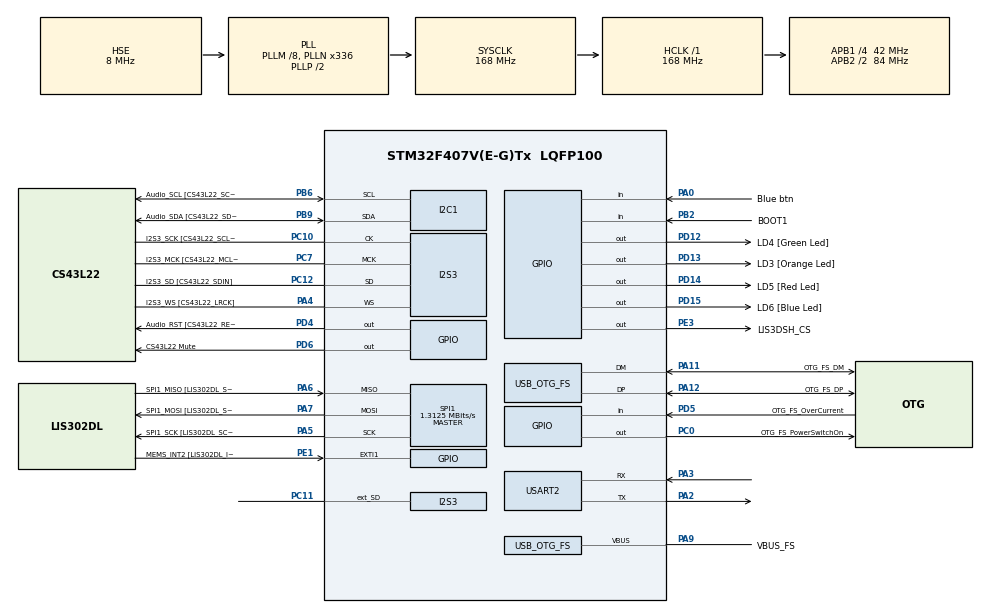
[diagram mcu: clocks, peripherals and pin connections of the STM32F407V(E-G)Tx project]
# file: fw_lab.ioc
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Dma.Request0=SPI3_TX
Dma.SPI3_TX.0.Direction=DMA_MEMORY_TO_PERIPH
Dma.SPI3_TX.0.FIFOMode=DMA_FIFOMODE_DISABLE
Dma.SPI3_TX.0.Instance=DMA1_Stream5
Dma.SPI3_TX.0.MemDataAlignment=DMA_MDATAALIGN_HALFWORD
Dma.SPI3_TX.0.MemInc=DMA_MINC_ENABLE
Dma.SPI3_TX.0.Mode=DMA_CIRCULAR
Dma.SPI3_TX.0.PeriphDataAlignment=DMA_PDATAALIGN_HALFWORD
Dma.SPI3_TX.0.PeriphInc=DMA_PINC_DISABLE
Dma.SPI3_TX.0.Priority=DMA_PRIORITY_MEDIUM
FREERTOS.Queues01=ledQueue,4,uint16_t,0,Dynamic,NULL,NULL
FREERTOS.Tasks01=defaultTask,24,128,StartDefaultTask,Default,NULL,Dynamic,NULL,NULL;buttonTask,24,128,StartButtonTask,Default,NULL,Dynamic,NULL,NULL;ledTask,24,256,StartLedTask,Default,NULL,Dynamic,NULL,NULL;uartTask,24,256,StartUartTask,Default,NULL,Dynamic,NULL,NULL
I2S3.AudioFreq=I2S_AUDIOFREQ_48K
I2S3.ErrorAudioFreq=-2.34 %
I2S3.FullDuplexMode=I2S_FULLDUPLEXMODE_ENABLE
I2S3.Instance=SPI$Index
I2S3.RealAudioFreq=46.875 KHz
I2S3.VirtualMode=I2S_MODE_MASTER
Mcu.Family=STM32F4
Mcu.Name=STM32F407V(E-G)Tx
Mcu.Package=LQFP100
NVIC.DMA1_Stream5_IRQn=true\:5\:0\:false\:false\:true\:true\:false\:true\:true
NVIC.OTG_FS_IRQn=true\:5\:0\:false\:false\:true\:true\:true\:true\:true
NVIC.PriorityGroup=NVIC_PRIORITYGROUP_4
NVIC.SPI3_IRQn=true\:5\:0\:false\:false\:true\:true\:true\:true\:true
NVIC.USART2_IRQn=true\:5\:0\:false\:false\:true\:true\:true\:true\:true
PA0-WKUP.GPIO_Label=Blue btn
PA0-WKUP.GPIO_PuPd=GPIO_PULLDOWN
PA0-WKUP.Signal=GPIO_Input
PA10.GPIO_Label=OTG_FS_ID
PA10.GPIO_Mode=GPIO_MODE_AF_PP
PA10.GPIO_PuPd=GPIO_NOPULL
PA10.GPIO_Speed=GPIO_SPEED_FREQ_LOW
PA10.Signal=USB_OTG_FS_ID
PA11.GPIO_Label=OTG_FS_DM
PA11.GPIO_Mode=GPIO_MODE_AF_PP
PA11.GPIO_PuPd=GPIO_NOPULL
PA11.GPIO_Speed=GPIO_SPEED_FREQ_LOW
PA11.Mode=Host_Only
PA11.Signal=USB_OTG_FS_DM
PA12.GPIO_Label=OTG_FS_DP
PA12.GPIO_Mode=GPIO_MODE_AF_PP
PA12.GPIO_PuPd=GPIO_NOPULL
PA12.GPIO_Speed=GPIO_SPEED_FREQ_LOW
PA12.Mode=Host_Only
PA12.Signal=USB_OTG_FS_DP
PA13.GPIO_Label=SWDIO
PA13.Mode=Serial_Wire
PA13.Signal=SYS_JTMS-SWDIO
PA14.GPIO_Label=SWCLK
PA14.Mode=Serial_Wire
PA14.Signal=SYS_JTCK-SWCLK
PA2.Mode=Asynchronous
PA2.Signal=USART2_TX
PA3.Mode=Asynchronous
PA3.Signal=USART2_RX
PA4.GPIO_Label=I2S3_WS [CS43L22_LRCK]
PA4.GPIO_Mode=GPIO_MODE_AF_PP
PA4.GPIO_PuPd=GPIO_NOPULL
PA4.GPIO_Speed=GPIO_SPEED_FREQ_LOW
PA4.Mode=Full_Duplex_Master
PA4.Signal=I2S3_WS
PA5.GPIO_Label=SPI1_SCK [LIS302DL_SCL/SPC]
PA5.GPIO_Mode=GPIO_MODE_AF_PP
PA5.GPIO_PuPd=GPIO_NOPULL
PA5.GPIO_Speed=GPIO_SPEED_FREQ_LOW
PA5.Mode=Full_Duplex_Master
PA5.Signal=SPI1_SCK
PA6.GPIO_Label=SPI1_MISO [LIS302DL_SDO]
PA6.GPIO_Mode=GPIO_MODE_AF_PP
PA6.GPIO_PuPd=GPIO_NOPULL
PA6.GPIO_Speed=GPIO_SPEED_FREQ_LOW
PA6.Mode=Full_Duplex_Master
PA6.Signal=SPI1_MISO
PA7.GPIO_Label=SPI1_MOSI [LIS302DL_SDA/SDI/SDO]
PA7.GPIO_Mode=GPIO_MODE_AF_PP
PA7.GPIO_PuPd=GPIO_NOPULL
PA7.GPIO_Speed=GPIO_SPEED_FREQ_LOW
PA7.Mode=Full_Duplex_Master
PA7.Signal=SPI1_MOSI
PA9.GPIO_Label=VBUS_FS
PA9.GPIO_Mode=GPIO_MODE_INPUT
PA9.GPIO_PuPd=GPIO_NOPULL
PA9.Mode=Activate_VBUS
PA9.Signal=USB_OTG_FS_VBUS
PB10.GPIO_Label=CLK_IN [MP45DT02_CLK]
PB10.GPIO_Mode=GPIO_MODE_AF_PP
PB10.GPIO_PuPd=GPIO_NOPULL
PB10.GPIO_Speed=GPIO_SPEED_FREQ_LOW
PB10.Signal=I2S2_CK
PB2.GPIO_Label=BOOT1
PB2.GPIO_Mode=GPIO_MODE_INPUT
PB2.GPIO_PuPd=GPIO_NOPULL
PB2.Signal=GPIO_Input
PB3.GPIO_Label=SWO
PB3.Signal=SYS_JTDO-SWO
PB6.GPIO_Label=Audio_SCL [CS43L22_SCL]
PB6.GPIO_Mode=GPIO_MODE_AF_OD
PB6.GPIO_Pu=GPIO_PULLUP
PB6.GPIO_PuPd=GPIO_NOPULL
PB6.GPIO_Speed=GPIO_SPEED_FREQ_LOW
PB6.Mode=I2C
PB6.Signal=I2C1_SCL
PB9.GPIO_Label=Audio_SDA [CS43L22_SDA]
PB9.GPIO_Mode=GPIO_MODE_AF_OD
PB9.GPIO_Pu=GPIO_PULLUP
PB9.GPIO_PuPd=GPIO_NOPULL
PB9.GPIO_Speed=GPIO_SPEED_FREQ_LOW
PB9.Mode=I2C
PB9.Signal=I2C1_SDA
PC0.GPIO_Label=OTG_FS_PowerSwitchOn
PC0.GPIO_PuPd=GPIO_NOPULL
PC0.GPIO_Speed=GPIO_SPEED_FREQ_LOW
PC0.PinState=GPIO_PIN_SET
PC0.Signal=GPIO_Output
PC10.GPIO_Label=I2S3_SCK [CS43L22_SCLK]
PC10.GPIO_Mode=GPIO_MODE_AF_PP
PC10.GPIO_PuPd=GPIO_NOPULL
PC10.GPIO_Speed=GPIO_SPEED_FREQ_LOW
PC10.Mode=Full_Duplex_Master
PC10.Signal=I2S3_CK
PC11.Mode=Full_Duplex_Master
PC11.Signal=I2S3_ext_SD
PC12.GPIO_Label=I2S3_SD [CS43L22_SDIN]
PC12.GPIO_Mode=GPIO_MODE_AF_PP
PC12.GPIO_PuPd=GPIO_NOPULL
PC12.GPIO_Speed=GPIO_SPEED_FREQ_LOW
PC12.Mode=Full_Duplex_Master
PC12.Signal=I2S3_SD
PC14-OSC32_IN.GPIO_Label=PC14-OSC32_IN
PC14-OSC32_IN.Mode=LSE-External-Oscillator
PC14-OSC32_IN.Signal=RCC_OSC32_IN
PC15-OSC32_OUT.GPIO_Label=PC15-OSC32_OUT
PC15-OSC32_OUT.Mode=LSE-External-Oscillator
PC15-OSC32_OUT.Signal=RCC_OSC32_OUT
PC3.GPIO_Label=PDM_OUT [MP45DT02_DOUT]
PC3.GPIO_Mode=GPIO_MODE_AF_PP
PC3.GPIO_PuPd=GPIO_NOPULL
PC3.GPIO_Speed=GPIO_SPEED_FREQ_LOW
PC3.Signal=I2S2_SD
PC7.GPIO_Label=I2S3_MCK [CS43L22_MCLK]
PC7.GPIO_Mode=GPIO_MODE_AF_PP
PC7.GPIO_PuPd=GPIO_NOPULL
PC7.GPIO_Speed=GPIO_SPEED_FREQ_LOW
PC7.Mode=Master_Clock_Activated
PC7.Signal=I2S3_MCK
PD12.GPIO_Label=LD4 [Green Led]
PD12.GPIO_PuPd=GPIO_NOPULL
PD12.GPIO_Speed=GPIO_SPEED_FREQ_LOW
PD12.Signal=GPIO_Output
PD13.GPIO_Label=LD3 [Orange Led]
PD13.GPIO_PuPd=GPIO_NOPULL
PD13.GPIO_Speed=GPIO_SPEED_FREQ_LOW
PD13.Signal=GPIO_Output
PD14.GPIO_Label=LD5 [Red Led]
PD14.GPIO_PuPd=GPIO_NOPULL
PD14.GPIO_Speed=GPIO_SPEED_FREQ_LOW
PD14.Signal=GPIO_Output
PD15.GPIO_Label=LD6 [Blue Led]
PD15.GPIO_PuPd=GPIO_NOPULL
PD15.GPIO_Speed=GPIO_SPEED_FREQ_LOW
PD15.Signal=GPIO_Output
PD4.GPIO_Label=Audio_RST [CS43L22_RESET]
PD4.GPIO_PuPd=GPIO_NOPULL
PD4.GPIO_Speed=GPIO_SPEED_FREQ_LOW
PD4.Signal=GPIO_Output
PD5.GPIO_Label=OTG_FS_OverCurrent
PD5.GPIO_Mode=GPIO_MODE_INPUT
PD5.GPIO_PuPd=GPIO_NOPULL
PD5.Signal=GPIO_Input
PD6.GPIO_Label=CS43L22 Mute
PD6.Signal=GPIO_Output
PE1.GPIO_Label=MEMS_INT2 [LIS302DL_INT2]
PE1.GPIO_ModeDefaultEXTI=GPIO_MODE_EVT_RISING
PE1.GPIO_PuPd=GPIO_NOPULL
PE1.Signal=GPXTI1
PE3.GPIO_Label=LIS3DSH_CS
PE3.GPIO_PuPd=GPIO_NOPULL
PE3.GPIO_Speed=GPIO_SPEED_FREQ_LOW
PE3.PinState=GPIO_PIN_SET
PE3.Signal=GPIO_Output
PH0-OSC_IN.GPIO_Label=PH0-OSC_IN
PH0-OSC_IN.Mode=HSE-External-Oscillator
PH0-OSC_IN.Signal=RCC_OSC_IN
PH1-OSC_OUT.GPIO_Label=PH1-OSC_OUT
PH1-OSC_OUT.Mode=HSE-External-Oscillator
PH1-OSC_OUT.Signal=RCC_OSC_OUT
ProjectManager.HeapSize=0x200
ProjectManager.StackSize=0x400
ProjectManager.TargetToolchain=STM32CubeIDE
RCC.48MHZClocksFreq_Value=48000000
RCC.AHBFreq_Value=168000000
RCC.APB1CLKDivider=RCC_HCLK_DIV4
RCC.APB1Freq_Value=42000000
RCC.APB1TimFreq_Value=84000000
RCC.APB2CLKDivider=RCC_HCLK_DIV2
RCC.APB2Freq_Value=84000000
RCC.APB2TimFreq_Value=168000000
RCC.CortexFreq_Value=168000000
RCC.HCLKFreq_Value=168000000
RCC.HSE_VALUE=8000000
RCC.HSI_VALUE=16000000
RCC.PLLI2SR=4
RCC.PLLM=8
RCC.PLLN=336
RCC.PLLQ=7
RCC.SYSCLKFreq_VALUE=168000000
RCC.SYSCLKSource=RCC_SYSCLKSOURCE_PLLCLK
RCC.VCOOutputFreq_Value=336000000
SPI1.BaudRatePrescaler=SPI_BAUDRATEPRESCALER_64
SPI1.BaudRatePrescaler-Full_Duplex_Master=SPI_BAUDRATEPRESCALER_2
SPI1.CLKPhase=SPI_PHASE_2EDGE
SPI1.CLKPolarity=SPI_POLARITY_HIGH
SPI1.CalculateBaudRate=1.3125 MBits/s
SPI1.CalculateBaudRate-Full_Duplex_Master=42.0 MBits/s
SPI1.Direction=SPI_DIRECTION_2LINES
SPI1.Mode=SPI_MODE_MASTER
SPI1.Mode-Full_Duplex_Master=SPI_MODE_MASTER
SPI1.VirtualType=VM_MASTER
USART2.VirtualMode=VM_ASYNC
USB_HOST.BSP.number=1
USB_HOST.USBH_HandleTypeDef-CDC_FS=hUsbHostFS
USB_HOST.VirtualModeFS=Cdc
USB_HOST0.BSP.STBoard=false
USB_HOST0.BSP.api=Unknown
USB_HOST0.BSP.instance=PC0
USB_HOST0.BSP.ip=GPIO
USB_HOST0.BSP.mode=Output
USB_HOST0.BSP.name=Drive_VBUS_FS
USB_HOST0.BSP.solution=PC0
USB_OTG_FS.VirtualMode=Host_Only
USB_OTG_FS.phy_itface=HCD_PHY_EMBEDDED
VP_FREERTOS_VS_CMSIS_V2.Mode=CMSIS_V2
VP_USB_HOST_VS_USB_HOST_CDC_FS.Mode=CDC_FS
board=STM32F407G-DISC1

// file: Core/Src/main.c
/* USER CODE BEGIN Header */
/**
  ******************************************************************************
  * @file           : main.c
  * @brief          : Main program body
  ******************************************************************************
  * @attention
  *
  * Copyright (c) 2025 STMicroelectronics.
  * All rights reserved.
  *
  * This software is licensed under terms that can be found in the LICENSE file
  * in the root directory of this software component.
  * If no LICENSE file comes with this software, it is provided AS-IS.
  *
  ******************************************************************************
  */
/* USER CODE END Header */
#include "main.h"
#include "cmsis_os.h"
#include "dma.h"
#include "i2c.h"
#include "i2s.h"
#include "spi.h"
#include "usart.h"
#include "usb_host.h"
#include "gpio.h"

/* USER CODE BEGIN Includes */
#include <stdio.h>
#include <string.h>
#include <math.h>
/* USER CODE END Includes */

/* USER CODE BEGIN PD */
#define CS_LOW() HAL_GPIO_WritePin(GPIOE, GPIO_PIN_3, GPIO_PIN_RESET)  // Start SPI communication
#define CS_HIGH() HAL_GPIO_WritePin(GPIOE, GPIO_PIN_3, GPIO_PIN_SET)   // End SPI communication

#define CS43L22_I2C_ADDR 0x94
#define AUDIO_BUF_SIZE 256
/* USER CODE END PD */

/* USER CODE BEGIN PV */
char buffer[100];
uint8_t idx = 0;
uint8_t uart_rx;

uint16_t audioBuffer[AUDIO_BUF_SIZE];
/* USER CODE END PV */

void SystemClock_Config(void);
void MX_FREERTOS_Init(void);
/* USER CODE BEGIN PFP */
void LIS3DSH_Init(void);
void LIS3DSH_WhoAmI(void);
void LIS3DSH_ReadAxes(uint16_t* x, uint16_t* y, uint16_t* z);
uint8_t LIS3DSH_ReadRegister(uint8_t reg);

void CS43L22_Init(I2C_HandleTypeDef *hi2c);
void Generate_SineWave(void);
/* USER CODE END PFP */

int main(void)
{

  /* MCU Configuration--------------------------------------------------------*/

  /* Reset of all peripherals, Initializes the Flash interface and the Systick. */
  HAL_Init();

  /* Configure the system clock */
  SystemClock_Config();

  /* Initialize all configured peripherals */
  MX_GPIO_Init();
  MX_DMA_Init();
  MX_I2C1_Init();
  MX_I2S3_Init();
  MX_SPI1_Init();
  MX_USART2_UART_Init();
  /* USER CODE BEGIN 2 */
  HAL_UART_Receive_IT(&huart2, &uart_rx, 1);

  CS_HIGH();

  LIS3DSH_WhoAmI();
  LIS3DSH_Init();

  CS43L22_Init(&hi2c1);
  Generate_SineWave();
  HAL_I2S_Transmit_DMA(&hi2s3, audioBuffer, AUDIO_BUF_SIZE);

  HAL_Delay(100);

  /* USER CODE END 2 */

  /* Init scheduler */
  osKernelInitialize();

  /* Call init function for freertos objects (in cmsis_os2.c) */
  MX_FREERTOS_Init();

  /* Start scheduler */
  osKernelStart();

  /* We should never get here as control is now taken by the scheduler */

  /* Infinite loop */
  while (1)
  {

    /* USER CODE BEGIN 3 */

    uint16_t x,y,z;
    LIS3DSH_ReadAxes(&x, &y, &z);

    printf("X: %d, Y: %d, Z: %d\r\n", x, y, z);
    HAL_Delay(500);
  }
  /* USER CODE END 3 */
}

void SystemClock_Config(void)
{
  RCC_OscInitTypeDef RCC_OscInitStruct = {0};
  RCC_ClkInitTypeDef RCC_ClkInitStruct = {0};

  /** Configure the main internal regulator output voltage
  */
  __HAL_RCC_PWR_CLK_ENABLE();
  __HAL_PWR_VOLTAGESCALING_CONFIG(PWR_REGULATOR_VOLTAGE_SCALE1);

  /** Initializes the RCC Oscillators according to the specified parameters
  * in the RCC_OscInitTypeDef structure.
  */
  RCC_OscInitStruct.OscillatorType = RCC_OSCILLATORTYPE_HSE;
  RCC_OscInitStruct.HSEState = RCC_HSE_ON;
  RCC_OscInitStruct.PLL.PLLState = RCC_PLL_ON;
  RCC_OscInitStruct.PLL.PLLSource = RCC_PLLSOURCE_HSE;
  RCC_OscInitStruct.PLL.PLLM = 8;
  RCC_OscInitStruct.PLL.PLLN = 336;
  RCC_OscInitStruct.PLL.PLLP = RCC_PLLP_DIV2;
  RCC_OscInitStruct.PLL.PLLQ = 7;
  if (HAL_RCC_OscConfig(&RCC_OscInitStruct) != HAL_OK)
  {
    Error_Handler();
  }

  /** Initializes the CPU, AHB and APB buses clocks
  */
  RCC_ClkInitStruct.ClockType = RCC_CLOCKTYPE_HCLK|RCC_CLOCKTYPE_SYSCLK
                              |RCC_CLOCKTYPE_PCLK1|RCC_CLOCKTYPE_PCLK2;
  RCC_ClkInitStruct.SYSCLKSource = RCC_SYSCLKSOURCE_PLLCLK;
  RCC_ClkInitStruct.AHBCLKDivider = RCC_SYSCLK_DIV1;
  RCC_ClkInitStruct.APB1CLKDivider = RCC_HCLK_DIV4;
  RCC_ClkInitStruct.APB2CLKDivider = RCC_HCLK_DIV2;

  if (HAL_RCC_ClockConfig(&RCC_ClkInitStruct, FLASH_LATENCY_5) != HAL_OK)
  {
    Error_Handler();
  }
}

/* USER CODE BEGIN 4 */

void HAL_UART_RxCpltCallback(UART_HandleTypeDef *huart)
{
  static LedCommand cmd;
  if (huart->Instance == USART2)
  {
    if (uart_rx != '\r' && uart_rx != '\n')
    {
      if(idx < sizeof(buffer) - 1)
      {
        buffer[idx++] = uart_rx;
      }
    }
    else
    {
      buffer[idx] = '\0';
      printf("received msg: %s\r\n", buffer);

      if (strcmp(buffer, "on") == 0)
        cmd = LED_ON;
      else if (strcmp(buffer, "off") == 0)
        cmd = LED_OFF;
      else if (strcmp(buffer, "toggle") == 0)
        cmd = LED_TOGGLE;
      else if (strcmp(buffer, "blink start") == 0)
        cmd = LED_BLINK_START;
      else if (strcmp(buffer, "blink stop") == 0)
        cmd = LED_BLINK_STOP;

      if (osMessageQueuePut(ledQueueHandle, &cmd, 0, 0) != osOK)
      {
        printf("Failed to put LED command to queue\r\n");
      }

      idx = 0;
    }
    HAL_UART_Receive_IT(&huart2, &uart_rx, 1);
  }
}

void LIS3DSH_Init(void)
{
  uint8_t tx[2];

  tx[0] = 0x20;     // CTRL_REG4 - set Output Data Rate & xyz enable
  tx[1] = 0x67;     // 0110 0111 - ODR: 100Hz, XYZ on

  CS_LOW();
  HAL_SPI_Transmit(&hspi1, tx, 2, HAL_MAX_DELAY);
  CS_HIGH();
}

uint8_t LIS3DSH_ReadRegister(uint8_t reg)
{
  uint8_t tx[2], rx[2];

  tx[0] = reg | 0x80;     // read mode MSB 1
  tx[1] = 0x00;           // data recv dummy byte

  CS_LOW();
  HAL_SPI_TransmitReceive(&hspi1, tx, rx, 2, HAL_MAX_DELAY);
  CS_HIGH();

  // printf("TX: 0x%02X, RX0: 0x%02X, RX1: 0x%02X\r\n", tx[0], rx[0], rx[1]);

  return rx[1];
}

void LIS3DSH_WhoAmI(void)       // check sensor(LIS3DSH) connection
{
  uint8_t who_am_i = LIS3DSH_ReadRegister(0x0F);      // 0x0F = who am i reg
  printf("WHO_AM_I: 0x%02X\r\n", who_am_i);           // 0x3F -> LIS3DSH

  if (who_am_i == 0x3F)
  {
      printf("LIS3DSH detected successfully!\r\n");
  }
  else
  {
      printf("LIS3DSH not detected / SPI communication failed.\r\n");
  }
}

void LIS3DSH_ReadAxes(uint16_t* x, uint16_t* y, uint16_t* z)
{
//  uint8_t tx[7] = {0};
//  uint8_t rx[7] = {0};
//
//  tx[0] = 0x28 | 0x80 | 0x40;  // Read, auto-increment
//
//  CS_LOW();
//  HAL_SPI_TransmitReceive(&hspi1, tx, rx, 7, HAL_MAX_DELAY);
//  CS_HIGH();
//
//  *x = (uint16_t)((rx[2] << 8) | rx[1]);
//  *y = (uint16_t)((rx[4] << 8) | rx[3]);
//  *z = (uint16_t)((rx[6] << 8) | rx[5]);

  uint8_t xl = LIS3DSH_ReadRegister(0x28);
  uint8_t xh = LIS3DSH_ReadRegister(0x29);

  uint8_t yl = LIS3DSH_ReadRegister(0x2A);
  uint8_t yh = LIS3DSH_ReadRegister(0x2B);

  uint8_t zl = LIS3DSH_ReadRegister(0x2C);
  uint8_t zh = LIS3DSH_ReadRegister(0x2D);

  *x = (uint16_t)((xh << 8) | xl);
  *y = (uint16_t)((yh << 8) | yl);
  *z = (uint16_t)((zh << 8) | zl);
}

void CS43L22_Init(I2C_HandleTypeDef *hi2c)
{
  uint8_t data[2];

  HAL_GPIO_WritePin(GPIOD, GPIO_PIN_4, GPIO_PIN_SET);      // Reset pin
  HAL_Delay(10);

  HAL_GPIO_WritePin(GPIOD, GPIO_PIN_6, GPIO_PIN_RESET);    // Mute pin

  // Power Control 1: disable power down
  data[0] = 0x02;   // Register address
  data[1] = 0x01;   // Power ON
  HAL_I2C_Mem_Write(hi2c, CS43L22_I2C_ADDR, data[0], I2C_MEMADD_SIZE_8BIT, &data[1], 1, HAL_MAX_DELAY);

  // Clocking Control
  data[0] = 0x05;
  data[1] = 0x81;
  HAL_I2C_Mem_Write(hi2c, CS43L22_I2C_ADDR, data[0], I2C_MEMADD_SIZE_8BIT, &data[1], 1, HAL_MAX_DELAY);

  // Interface Control 1
  data[0] = 0x06;
  data[1] = 0x07;  // I2S, 16-bit data
  HAL_I2C_Mem_Write(hi2c, CS43L22_I2C_ADDR, data[0], I2C_MEMADD_SIZE_8BIT, &data[1], 1, HAL_MAX_DELAY);

  // Passthrough A & B
  data[0] = 0x0A;
  data[1] = 0x00;
  HAL_I2C_Mem_Write(hi2c, CS43L22_I2C_ADDR, data[0], I2C_MEMADD_SIZE_8BIT, &data[1], 1, HAL_MAX_DELAY);

  // Power Ctl2: speaker ON
  data[0] = 0x04;
  data[1] = 0xAF;  // Headphone + Speaker enable
  HAL_I2C_Mem_Write(hi2c, CS43L22_I2C_ADDR, data[0], I2C_MEMADD_SIZE_8BIT, &data[1], 1, HAL_MAX_DELAY);

  // Master Volume
  data[0] = 0x20;
  data[1] = 0x00;  // 0dB
  HAL_I2C_Mem_Write(hi2c, CS43L22_I2C_ADDR, data[0], I2C_MEMADD_SIZE_8BIT, &data[1], 1, HAL_MAX_DELAY);

  printf("DAC Init Done!\n");
}

void Generate_SineWave(void)
{
  for (int i = 0; i < AUDIO_BUF_SIZE; i++)
  {
    audioBuffer[i] = (int16_t)(10000 * sin(2 * 3.141592 * i / AUDIO_BUF_SIZE));
  }
}

void HAL_I2S_TxCpltCallback(I2S_HandleTypeDef *hi2s)
{
    if (hi2s->Instance == SPI3)
    {
        HAL_I2S_Transmit_DMA(hi2s, audioBuffer, AUDIO_BUF_SIZE);
    }
}

/* USER CODE END 4 */

void Error_Handler(void)
{
  __disable_irq();
  while (1)
  {
  }
}

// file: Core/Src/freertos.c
/* USER CODE BEGIN Header */
/**
  ******************************************************************************
  * File Name          : freertos.c
  * Description        : Code for freertos applications
  ******************************************************************************
  * @attention
  *
  * Copyright (c) 2025 STMicroelectronics.
  * All rights reserved.
  *
  * This software is licensed under terms that can be found in the LICENSE file
  * in the root directory of this software component.
  * If no LICENSE file comes with this software, it is provided AS-IS.
  *
  ******************************************************************************
  */
/* USER CODE END Header */

#include "FreeRTOS.h"
#include "task.h"
#include "main.h"
#include "cmsis_os.h"
#include <stdio.h>
#include <string.h>

/* USER CODE BEGIN PTD */
extern UART_HandleTypeDef huart2;
/* USER CODE END PTD */

/* Definitions for defaultTask */
osThreadId_t defaultTaskHandle;
const osThreadAttr_t defaultTask_attributes = {
  .name = "defaultTask",
  .stack_size = 128 * 4,
  .priority = (osPriority_t) osPriorityNormal,
};
/* Definitions for buttonTask */
osThreadId_t buttonTaskHandle;
const osThreadAttr_t buttonTask_attributes = {
  .name = "buttonTask",
  .stack_size = 128 * 4,
  .priority = (osPriority_t) osPriorityNormal,
};
/* Definitions for ledTask */
osThreadId_t ledTaskHandle;
const osThreadAttr_t ledTask_attributes = {
  .name = "ledTask",
  .stack_size = 256 * 4,
  .priority = (osPriority_t) osPriorityNormal,
};
/* Definitions for ledQueue */
osMessageQueueId_t ledQueueHandle;
const osMessageQueueAttr_t ledQueue_attributes = {
  .name = "ledQueue"
};

void StartDefaultTask(void *argument);
void StartButtonTask(void *argument);
void StartLedTask(void *argument);

extern void MX_USB_HOST_Init(void);
void MX_FREERTOS_Init(void); /* (MISRA C 2004 rule 8.1) */

void MX_FREERTOS_Init(void) {

  /* Create the queue(s) */
  /* creation of ledQueue */
  ledQueueHandle = osMessageQueueNew (4, sizeof(LedCommand), &ledQueue_attributes);
  if (ledQueueHandle == NULL)
  {
    printf("Failed to create ledQueue\r\n");
  }
  else
  {
    printf("ledQueue created successfully\r\n");
  }

  /* Create the thread(s) */
  /* creation of defaultTask */
  defaultTaskHandle = osThreadNew(StartDefaultTask, NULL, &defaultTask_attributes);

  /* creation of buttonTask */
  buttonTaskHandle = osThreadNew(StartButtonTask, NULL, &buttonTask_attributes);

  /* creation of ledTask */
  ledTaskHandle = osThreadNew(StartLedTask, NULL, &ledTask_attributes);

}

void StartDefaultTask(void *argument)
{
  /* init code for USB_HOST */
  MX_USB_HOST_Init();
  for(;;)
  {
    osDelay(1);
  }
}

void StartButtonTask(void *argument)
{
  /* USER CODE BEGIN StartButtonTask */
  uint8_t btnState = 0;
  uint8_t prevBtnState = 0;
  uint32_t pressedTime = 0;

  /* Infinite loop */
  for(;;)
  {
    uint8_t stableCount = 0;

    for (uint8_t i = 0; i < 5; i++)
    {
      if (HAL_GPIO_ReadPin(GPIOA, GPIO_PIN_0) == GPIO_PIN_SET)
      {
        stableCount ++;
        osDelay(10);
      }
    }

    btnState = (stableCount >= 4) ? GPIO_PIN_SET : GPIO_PIN_RESET;        // btn debouncing

    if (btnState == GPIO_PIN_SET && prevBtnState == GPIO_PIN_RESET)
    {
      pressedTime = HAL_GetTick();
    }

    if (btnState == GPIO_PIN_SET && (HAL_GetTick() - pressedTime >= 2000))
    {
      LedCommand cmd = LED_BLINK_START;
      osMessageQueuePut(ledQueueHandle, &cmd, 0, 0);
    }

    if (btnState == GPIO_PIN_RESET && prevBtnState == GPIO_PIN_SET)
    {
      if (HAL_GetTick() - pressedTime < 2000)
      {
        LedCommand cmd = LED_TOGGLE;       // Green
        osMessageQueuePut(ledQueueHandle, &cmd, 0, 0);
      }
      else
      {
        LedCommand cmd = LED_BLINK_STOP;
        osMessageQueuePut(ledQueueHandle, &cmd, 0, 0);
      }
    }
    prevBtnState = btnState;
    osDelay(10);
  }
  /* USER CODE END StartButtonTask */
}

void StartLedTask(void *argument)
{
  /* USER CODE BEGIN StartLedTask */
  LedCommand cmd;
  uint8_t blinking = 0;

  /* Infinite loop */
  for(;;)
  {
    if (osMessageQueueGet(ledQueueHandle, &cmd, NULL, blinking ? 50 : osWaitForever) == osOK)
    {
      printf("LED Command received: %d\r\n", cmd);
      switch(cmd)
      {
        case LED_ON:
          HAL_GPIO_WritePin(GPIOD, GPIO_PIN_13, GPIO_PIN_SET);    // orange
          blinking = 0;
          break;

        case LED_OFF:
          HAL_GPIO_WritePin(GPIOD, GPIO_PIN_13, GPIO_PIN_RESET);
          blinking = 0;
          break;

        case LED_TOGGLE:
          HAL_GPIO_TogglePin(GPIOD, GPIO_PIN_12);      // green
          blinking = 0;
          break;

        case LED_BLINK_START:
           blinking = 1;
           break;

        case LED_BLINK_STOP:
          blinking = 0;
          HAL_GPIO_WritePin(GPIOD, GPIO_PIN_15, GPIO_PIN_RESET);    // b;ue
          break;
      }
    }

    if (blinking)
    {
      HAL_GPIO_TogglePin(GPIOD, GPIO_PIN_15);
      osDelay(50);
    }
  }
  /* USER CODE END StartLedTask */
}
